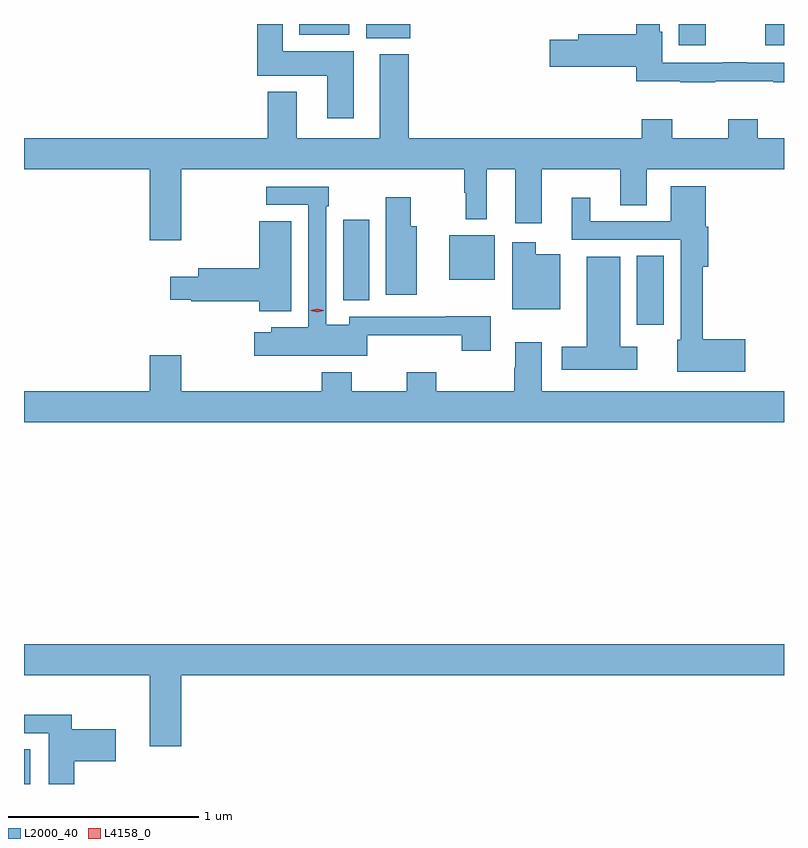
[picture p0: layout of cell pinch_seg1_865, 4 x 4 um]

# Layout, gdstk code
import gdstk
lib = gdstk.Library(unit=1e-6, precision=1e-09)
def R(c, l, rs):  # rectangles x0, y0, x1, y1
    for r in rs: c.add(gdstk.rectangle(r[:2], r[2:], *l))
def P(c, l, *ps):  # polygons
    for p in ps: c.add(gdstk.Polygon(p, *l))
L2000_40 = (2000, 40)
L4158_0 = (4158, 0)

pinch_seg1_865 = lib.new_cell('pinch_seg1_865')
R(pinch_seg1_865, L2000_40, [(535.973,524.52,536.005,524.702), (539.198,526.938,539.341,527.3), (537.653,527.065,537.79,527.491), (538.211,527.174,538.45,527.407), (539.873,528.407,539.973,528.52), (539.42,528.408,539.562,528.52), (537.773,528.446,538.006,528.52), (537.422,528.464,537.685,528.52)])
P(pinch_seg1_865, L2000_40, [(539.611,528.218),(539.917,528.218),(539.917,528.214),(539.973,528.214),(539.973,528.315),(539.777,528.315),(539.777,528.32),(539.65,528.32),(539.65,528.315),(539.332,528.315),(539.332,528.48),(539.32,528.48),(539.32,528.52),(539.195,528.52),(539.195,528.467),(538.889,528.467),(538.889,528.437),(538.74,528.437),(538.74,528.295),(539.195,528.295),(539.195,528.218),(539.428,528.218),(539.428,528.214),(539.611,528.214)],
  [(537.709,528.376),(537.334,528.376),(537.334,528.52),(537.2,528.52),(537.2,528.248),(537.569,528.248),(537.569,528.024),(537.709,528.024)],
  [(538.291,527.633),(538.299,527.633),(538.299,527.493),(538.408,527.493),(538.408,527.756),(538.559,527.756),(538.559,527.472),(538.699,527.472),(538.699,527.756),(539.111,527.756),(539.111,527.566),(539.251,527.566),(539.251,527.756),(539.973,527.756),(539.973,527.92),(539.835,527.92),(539.835,528.019),(539.68,528.019),(539.68,527.92),(539.385,527.92),(539.385,528.019),(539.225,528.019),(539.225,527.92),(537.998,527.92),(537.998,528.361),(537.845,528.361),(537.845,527.92),(537.409,527.92),(537.409,528.163),(537.257,528.163),(537.257,527.92),(535.973,527.92),(535.973,527.756),(536.636,527.756),(536.636,527.382),(536.8,527.382),(536.8,527.756),(538.291,527.756)],
  [(539.77,526.862),(539.546,526.862),(539.546,527.243),(539.573,527.243),(539.573,527.454),(539.56,527.454),(539.56,527.665),(539.378,527.665),(539.378,527.481),(538.954,527.481),(538.954,527.605),(538.856,527.605),(538.856,527.385),(539.43,527.385),(539.43,526.857),(539.411,526.857),(539.411,526.691),(539.77,526.691)],
  [(537.78,526.883),(538.277,526.883),(538.277,526.8),(538.429,526.8),(538.429,526.982),(538.193,526.982),(538.193,526.98),(537.684,526.98),(537.684,526.936),(537.564,526.936),(537.564,527.561),(537.577,527.561),(537.577,527.664),(537.249,527.664),(537.249,527.568),(537.468,527.568),(537.468,526.924),(537.273,526.924),(537.273,526.897),(537.186,526.897),(537.186,526.775),(537.78,526.775)],
  [(538.039,527.455),(538.008,527.455),(538.008,527.608),(537.878,527.608),(537.878,527.094),(538.039,527.094)],
  [(537.379,527.483),(537.212,527.483),(537.212,527.234),(536.891,527.234),(536.891,527.191),(536.742,527.191),(536.742,527.069),(536.854,527.069),(536.854,527.062),(537.212,527.062),(537.212,527.009),(537.379,527.009)],
  [(538.795,527.308),(538.666,527.308),(538.666,527.371),(538.544,527.371),(538.544,527.018),(538.795,527.018)],
  [(539.2,526.822),(539.11,526.822),(539.11,527.296),(538.934,527.296),(538.934,526.822),(538.803,526.822),(538.803,526.7),(539.2,526.7)],
  [(539.973,526.588),(538.699,526.588),(538.699,526.846),(538.559,526.846),(538.559,526.712),(538.552,526.712),(538.552,526.588),(538.143,526.588),(538.143,526.687),(537.988,526.687),(537.988,526.588),(537.699,526.588),(537.699,526.687),(537.539,526.687),(537.539,526.588),(536.8,526.588),(536.8,526.777),(536.636,526.777),(536.636,526.588),(535.973,526.588),(535.973,526.424),(539.973,526.424)],
  [(535.973,525.092),(536.636,525.092),(536.636,524.718),(536.8,524.718),(536.8,525.092),(539.973,525.092),(539.973,525.256),(535.973,525.256)],
  [(536.237,524.639),(536.455,524.639),(536.455,524.809),(536.224,524.809),(536.224,524.885),(535.973,524.885),(535.973,524.787),(536.102,524.787),(536.102,524.52),(536.237,524.52)])
P(pinch_seg1_865, L4158_0, [(537.516,527.002),(537.482,527.012),(537.481,527.012),(537.482,527.013),(537.516,527.022),(537.55,527.013),(537.55,527.012),(537.55,527.012)])

lib.write_gds('pinch_seg1_865.gds')
